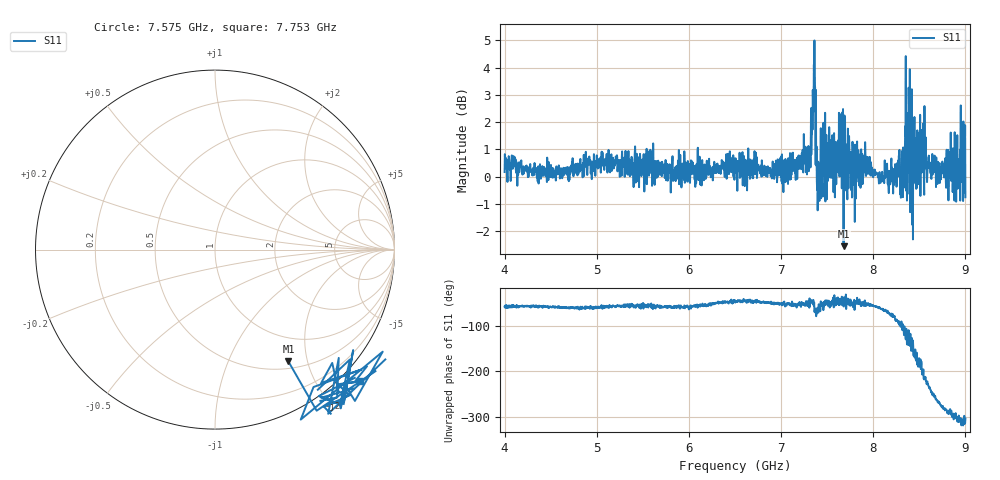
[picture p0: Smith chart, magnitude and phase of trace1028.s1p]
! Created with skrf 1.8.0 (http://scikit-rf.org).
# Hz S RI R 50.0
!freq ReS11 ImS11
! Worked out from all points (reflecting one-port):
!   1601 points, 4 GHz to 9 GHz, reference 50 ohm
!   lowest |S11| = -2.6 dB at 7.678 GHz (marker M1), VSWR 6.86, Z = 30.1 - j84.5 ohm
!   phase of S11 starts at -58 deg and turns -247 deg over the sweep
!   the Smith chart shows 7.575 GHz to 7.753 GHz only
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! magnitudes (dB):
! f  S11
! 4 GHz  0.2
! 4.625 GHz  -0.1
! 5.25 GHz  0.0
! 5.875 GHz  0.4
! 6.5 GHz  0.4
! 7.125 GHz  0.4
! 7.297 GHz  1.1
! 7.325 GHz  2.5
! 7.347 GHz  2.6
! 7.369 GHz  3.3
! 7.4 GHz  -0.5
! 7.412 GHz  0.3
! 7.503 GHz  0.8
! 7.588 GHz  0.6
! 7.65 GHz  1.9
! 7.678 GHz  -2.6
! 7.75 GHz  0.1
! 7.784 GHz  0.5
! 7.828 GHz  0.5
! 8.316 GHz  0.6
! 8.375 GHz  1.1
! 8.447 GHz  2.2
! 8.522 GHz  1.7
! 8.606 GHz  0.3
! 8.712 GHz  0.1
! 8.919 GHz  -0.2
! 8.972 GHz  0.8
! 9 GHz  -0.8
